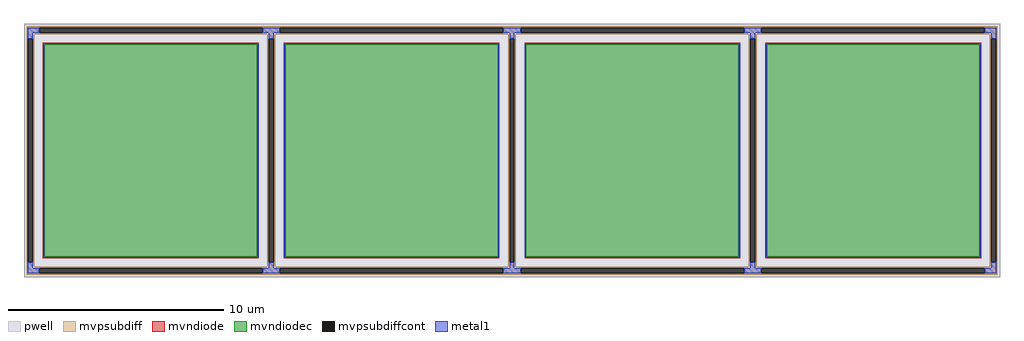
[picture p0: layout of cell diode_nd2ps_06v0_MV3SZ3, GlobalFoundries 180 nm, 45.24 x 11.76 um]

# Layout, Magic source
magic
tech gf180mcuD
magscale 1 10
<< pwell >>
rect -4524 -1176 4524 1176
<< mvpsubdiff >>
rect -4500 1139 4500 1152
rect -4500 1093 -4384 1139
rect -2312 1093 -2152 1139
rect -80 1093 80 1139
rect 2152 1093 2312 1139
rect 4384 1093 4500 1139
rect -4500 1080 4500 1093
rect -4500 1036 -4428 1080
rect -4500 -1036 -4487 1036
rect -4441 -1036 -4428 1036
rect -2268 1036 -2196 1080
rect -4500 -1080 -4428 -1036
rect -2268 -1036 -2255 1036
rect -2209 -1036 -2196 1036
rect -36 1036 36 1080
rect -2268 -1080 -2196 -1036
rect -36 -1036 -23 1036
rect 23 -1036 36 1036
rect 2196 1036 2268 1080
rect -36 -1080 36 -1036
rect 2196 -1036 2209 1036
rect 2255 -1036 2268 1036
rect 4428 1036 4500 1080
rect 2196 -1080 2268 -1036
rect 4428 -1036 4441 1036
rect 4487 -1036 4500 1036
rect 4428 -1080 4500 -1036
rect -4500 -1093 4500 -1080
rect -4500 -1139 -4384 -1093
rect -2312 -1139 -2152 -1093
rect -80 -1139 80 -1093
rect 2152 -1139 2312 -1093
rect 4384 -1139 4500 -1093
rect -4500 -1152 4500 -1139
<< mvpsubdiffcont >>
rect -4384 1093 -2312 1139
rect -2152 1093 -80 1139
rect 80 1093 2152 1139
rect 2312 1093 4384 1139
rect -4487 -1036 -4441 1036
rect -2255 -1036 -2209 1036
rect -23 -1036 23 1036
rect 2209 -1036 2255 1036
rect 4441 -1036 4487 1036
rect -4384 -1139 -2312 -1093
rect -2152 -1139 -80 -1093
rect 80 -1139 2152 -1093
rect 2312 -1139 4384 -1093
<< mvndiode >>
rect -4348 987 -2348 1000
rect -4348 -987 -4335 987
rect -2361 -987 -2348 987
rect -4348 -1000 -2348 -987
rect -2116 987 -116 1000
rect -2116 -987 -2103 987
rect -129 -987 -116 987
rect -2116 -1000 -116 -987
rect 116 987 2116 1000
rect 116 -987 129 987
rect 2103 -987 2116 987
rect 116 -1000 2116 -987
rect 2348 987 4348 1000
rect 2348 -987 2361 987
rect 4335 -987 4348 987
rect 2348 -1000 4348 -987
<< mvndiodec >>
rect -4335 -987 -2361 987
rect -2103 -987 -129 987
rect 129 -987 2103 987
rect 2361 -987 4335 987
<< metal1 >>
rect -4487 1093 -4384 1139
rect -2312 1093 -2152 1139
rect -80 1093 80 1139
rect 2152 1093 2312 1139
rect 4384 1093 4487 1139
rect -4487 1036 -4441 1093
rect -2255 1036 -2209 1093
rect -4346 -987 -4335 987
rect -2361 -987 -2350 987
rect -4487 -1093 -4441 -1036
rect -23 1036 23 1093
rect -2114 -987 -2103 987
rect -129 -987 -118 987
rect -2255 -1093 -2209 -1036
rect 2209 1036 2255 1093
rect 118 -987 129 987
rect 2103 -987 2114 987
rect -23 -1093 23 -1036
rect 4441 1036 4487 1093
rect 2350 -987 2361 987
rect 4335 -987 4346 987
rect 2209 -1093 2255 -1036
rect 4441 -1093 4487 -1036
rect -4487 -1139 -4384 -1093
rect -2312 -1139 -2152 -1093
rect -80 -1139 80 -1093
rect 2152 -1139 2312 -1093
rect 4384 -1139 4487 -1093
<< properties >>
string diode_nd2ps_06v0_MV3SZ3 parameters
string FIXED_BBOX 2232 -1116 4464 1116
string gencell diode_nd2ps_06v0
string library gf180mcu
string parameters w 10 l 10 area 100.0 peri 40.0 nx 4 ny 1 dummy 0 lmin 0.45 wmin 0.45 class diode elc 1 erc 1 etc 1 ebc 1 doverlap 1 full_metal 1 compatible {diode_nd2ps_03v3 diode_nd2ps_06v0}
<< end >>
